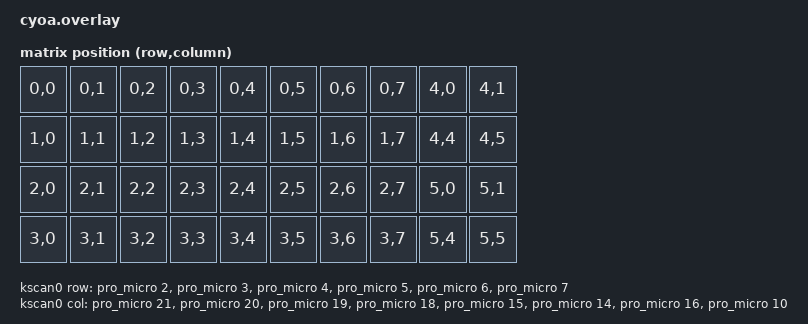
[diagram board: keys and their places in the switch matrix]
// CYOA Ortho snapped to 4x10 (rightmost two columns and bottom row removed).
// Pinout taken from the upstream QMK config: diodes ROW2COL,
// rows { D1, D0, D4, C6, D7, E6, B4, B5 }, cols { F4, F5, F6, F7, B1, B3, B2, B6 }.
// Rows 6-7 (B4/B5) only serve the 5th physical row, so they are omitted here.

#include <dt-bindings/zmk/matrix_transform.h>

/ {
    chosen {
        zmk,kscan = &kscan0;
        zmk,matrix-transform = &default_transform;
    };

    default_transform: keymap_transform_0 {
        compatible = "zmk,matrix-transform";
        columns = <8>;
        rows = <6>;
        map = <
RC(0,0) RC(0,1) RC(0,2) RC(0,3) RC(0,4) RC(0,5) RC(0,6) RC(0,7) RC(4,0) RC(4,1)
RC(1,0) RC(1,1) RC(1,2) RC(1,3) RC(1,4) RC(1,5) RC(1,6) RC(1,7) RC(4,4) RC(4,5)
RC(2,0) RC(2,1) RC(2,2) RC(2,3) RC(2,4) RC(2,5) RC(2,6) RC(2,7) RC(5,0) RC(5,1)
RC(3,0) RC(3,1) RC(3,2) RC(3,3) RC(3,4) RC(3,5) RC(3,6) RC(3,7) RC(5,4) RC(5,5)
        >;
    };

    kscan0: kscan {
        compatible = "zmk,kscan-gpio-matrix";
        diode-direction = "row2col";
        wakeup-source;

        row-gpios
            = <&pro_micro 2 GPIO_ACTIVE_HIGH>  // D1
            , <&pro_micro 3 GPIO_ACTIVE_HIGH>  // D0
            , <&pro_micro 4 GPIO_ACTIVE_HIGH>  // D4
            , <&pro_micro 5 GPIO_ACTIVE_HIGH>  // C6
            , <&pro_micro 6 GPIO_ACTIVE_HIGH>  // D7
            , <&pro_micro 7 GPIO_ACTIVE_HIGH>  // E6
            ;

        col-gpios
            = <&pro_micro 21 (GPIO_ACTIVE_HIGH | GPIO_PULL_DOWN)>  // F4
            , <&pro_micro 20 (GPIO_ACTIVE_HIGH | GPIO_PULL_DOWN)>  // F5
            , <&pro_micro 19 (GPIO_ACTIVE_HIGH | GPIO_PULL_DOWN)>  // F6
            , <&pro_micro 18 (GPIO_ACTIVE_HIGH | GPIO_PULL_DOWN)>  // F7
            , <&pro_micro 15 (GPIO_ACTIVE_HIGH | GPIO_PULL_DOWN)>  // B1
            , <&pro_micro 14 (GPIO_ACTIVE_HIGH | GPIO_PULL_DOWN)>  // B3
            , <&pro_micro 16 (GPIO_ACTIVE_HIGH | GPIO_PULL_DOWN)>  // B2
            , <&pro_micro 10 (GPIO_ACTIVE_HIGH | GPIO_PULL_DOWN)>  // B6
            ;
    };
};
